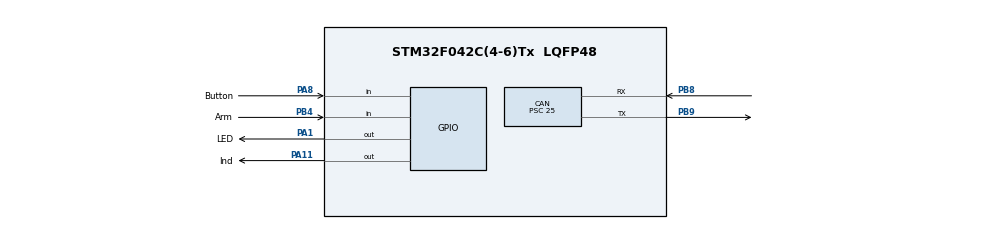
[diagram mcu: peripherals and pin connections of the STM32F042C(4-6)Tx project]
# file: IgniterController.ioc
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CAN.BS1=CAN_BS1_13TQ
CAN.BS2=CAN_BS2_2TQ
CAN.CalculateTimeQuantum=3125.0
CAN.Prescaler=25
Mcu.Family=STM32F0
Mcu.Name=STM32F042C(4-6)Tx
Mcu.Package=LQFP48
NVIC.CEC_CAN_IRQn=true\:1\:0\:true\:false\:true\:true\:true
PA1.GPIO_Label=LED
PA1.Signal=GPIO_Output
PA11.GPIO_Label=Ind
PA11.Signal=GPIO_Output
PA8.GPIO_Label=Button
PA8.Signal=GPIO_Input
PB4.GPIO_Label=Arm
PB4.Signal=GPIO_Input
PB8.GPIO_PuPd=GPIO_PULLUP
PB8.Mode=Master
PB8.Signal=CAN_RX
PB9.Mode=Master
PB9.Signal=CAN_TX
ProjectManager.HeapSize=0x200
ProjectManager.StackSize=0x400
ProjectManager.TargetToolchain=STM32CubeIDE
board=custom

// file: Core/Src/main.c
/* USER CODE BEGIN Header */
/**
  ******************************************************************************
  * @file           : main.c
  * @brief          : Main program body
  ******************************************************************************
  * @attention
  *
  * <h2><center>&copy; Copyright (c) 2020 STMicroelectronics.
  * All rights reserved.</center></h2>
  *
  * This software component is licensed by ST under BSD 3-Clause license,
  * the "License"; You may not use this file except in compliance with the
  * License. You may obtain a copy of the License at:
  *                        opensource.org/licenses/BSD-3-Clause
  *
  ******************************************************************************
  */
/* USER CODE END Header */

#include "main.h"

/* USER CODE BEGIN Includes */
#include "stdbool.h"
/* USER CODE END Includes */

CAN_HandleTypeDef hcan;

void SystemClock_Config(void);
static void MX_GPIO_Init(void);
static void MX_CAN_Init(void);
/* USER CODE BEGIN PFP */
void CAN_Send(uint8_t *data, int length);
/* USER CODE END PFP */

/* USER CODE BEGIN 0 */

CAN_TxHeaderTypeDef   CanTxHeader;
CAN_RxHeaderTypeDef   CanRxHeader;
uint8_t               CanRxData[8];
uint32_t              CanTxMailbox;

#define ARM_PERIOD          10000
#define SEND_STATE_INTERVAL 1000
#define ALIVE_INTERVAL      2000

#define LOOP_PERIOD         50

typedef enum {
	DEAD,
	DISARMED,
	EXPIRED,
	ARMED,
	FIRE,
} State;

State target_state     = DISARMED;
State pre_target_state = DISARMED;
State confirmed_state  = DEAD;

int send_state_timer = 0;
int alive_timer      = 0;

void send_state(void) {
	switch (target_state) {
	case DISARMED:
	case EXPIRED:
		CAN_Send((uint8_t *)"DISARM", 6);
		break;
	case ARMED:
		CAN_Send((uint8_t *)"ARM", 3);
		break;
	case FIRE:
		CAN_Send((uint8_t *)"FIRE", 4);
		break;
	default:
		break;
	}
	send_state_timer = 0;
}

/* USER CODE END 0 */

int main(void)
{
  /* USER CODE BEGIN 1 */

  int  arm_count = 0;

  /* USER CODE END 1 */

  /* MCU Configuration--------------------------------------------------------*/

  /* Reset of all peripherals, Initializes the Flash interface and the Systick. */
  HAL_Init();

  /* Configure the system clock */
  SystemClock_Config();

  /* Initialize all configured peripherals */
  MX_GPIO_Init();
  MX_CAN_Init();
  /* USER CODE BEGIN 2 */

  HAL_GPIO_WritePin(Ind_GPIO_Port, Ind_Pin, GPIO_PIN_RESET);

  /* USER CODE END 2 */

  /* Infinite loop */
  while (1)
  {

    /* USER CODE BEGIN 3 */

	  // Arm lever ON
	  if (confirmed_state == DISARMED &&
		  target_state != ARMED &&
		  target_state != EXPIRED &&
		  HAL_GPIO_ReadPin(Arm_GPIO_Port, Arm_Pin)) {
		  target_state = ARMED;
		  arm_count = 0;
	  }
	  // Arm lever OFF
	  if (!HAL_GPIO_ReadPin(Arm_GPIO_Port, Arm_Pin)) {
		  target_state = DISARMED;
	  }
	  // Arm period expired
	  if (target_state == ARMED &&
		  arm_count > ARM_PERIOD / LOOP_PERIOD) {
		  target_state = EXPIRED;
	  }
	  // Fire button pushed
	  if (confirmed_state == ARMED &&
		  target_state == ARMED &&
		  HAL_GPIO_ReadPin(Button_GPIO_Port, Button_Pin)) {
		  target_state = FIRE;
	  }

	  if (confirmed_state == DISARMED &&
		  target_state == FIRE) {
		  target_state = EXPIRED;
	  }

	  // Check heart beat
	  if (alive_timer > ALIVE_INTERVAL / LOOP_PERIOD) {
		  target_state    = DISARMED;
		  confirmed_state = DEAD;
	  }

	  // Send state
	  if (target_state != pre_target_state ||
		  send_state_timer > SEND_STATE_INTERVAL / LOOP_PERIOD) {
		  send_state();
	  }

	  pre_target_state = target_state;
	  arm_count++;
	  send_state_timer++;
	  alive_timer++;

	  HAL_GPIO_TogglePin(LED_GPIO_Port, LED_Pin);

	  switch (confirmed_state) {
	  case DEAD:
		  HAL_GPIO_WritePin(Ind_GPIO_Port, Ind_Pin, GPIO_PIN_RESET);
		  break;
	  case DISARMED:
		  HAL_GPIO_WritePin(Ind_GPIO_Port, Ind_Pin,
				  alive_timer < 200 / LOOP_PERIOD ? GPIO_PIN_SET : GPIO_PIN_RESET);
		  break;
	  case ARMED:
		  HAL_GPIO_WritePin(Ind_GPIO_Port, Ind_Pin, GPIO_PIN_SET);
		  break;
	  case FIRE:
		  if (alive_timer % 2 == 0) HAL_GPIO_TogglePin(Ind_GPIO_Port, Ind_Pin);
		  break;
	  }

	  HAL_Delay(LOOP_PERIOD);

  }
  /* USER CODE END 3 */
}

void SystemClock_Config(void)
{
  RCC_OscInitTypeDef RCC_OscInitStruct = {0};
  RCC_ClkInitTypeDef RCC_ClkInitStruct = {0};

  /** Initializes the CPU, AHB and APB busses clocks
  */
  RCC_OscInitStruct.OscillatorType = RCC_OSCILLATORTYPE_HSI;
  RCC_OscInitStruct.HSIState = RCC_HSI_ON;
  RCC_OscInitStruct.HSICalibrationValue = RCC_HSICALIBRATION_DEFAULT;
  RCC_OscInitStruct.PLL.PLLState = RCC_PLL_NONE;
  if (HAL_RCC_OscConfig(&RCC_OscInitStruct) != HAL_OK)
  {
    Error_Handler();
  }
  /** Initializes the CPU, AHB and APB busses clocks
  */
  RCC_ClkInitStruct.ClockType = RCC_CLOCKTYPE_HCLK|RCC_CLOCKTYPE_SYSCLK
                              |RCC_CLOCKTYPE_PCLK1;
  RCC_ClkInitStruct.SYSCLKSource = RCC_SYSCLKSOURCE_HSI;
  RCC_ClkInitStruct.AHBCLKDivider = RCC_SYSCLK_DIV1;
  RCC_ClkInitStruct.APB1CLKDivider = RCC_HCLK_DIV1;

  if (HAL_RCC_ClockConfig(&RCC_ClkInitStruct, FLASH_LATENCY_0) != HAL_OK)
  {
    Error_Handler();
  }
}

static void MX_CAN_Init(void)
{

  hcan.Instance = CAN;
  hcan.Init.Prescaler = 25;
  hcan.Init.Mode = CAN_MODE_NORMAL;
  hcan.Init.SyncJumpWidth = CAN_SJW_1TQ;
  hcan.Init.TimeSeg1 = CAN_BS1_13TQ;
  hcan.Init.TimeSeg2 = CAN_BS2_2TQ;
  hcan.Init.TimeTriggeredMode = DISABLE;
  hcan.Init.AutoBusOff = DISABLE;
  hcan.Init.AutoWakeUp = DISABLE;
  hcan.Init.AutoRetransmission = DISABLE;
  hcan.Init.ReceiveFifoLocked = DISABLE;
  hcan.Init.TransmitFifoPriority = DISABLE;
  if (HAL_CAN_Init(&hcan) != HAL_OK)
  {
    Error_Handler();
  }
  /* USER CODE BEGIN CAN_Init 2 */

  // Configure Filter

  CAN_FilterTypeDef  fc;

  fc.FilterBank           = 0;
  fc.FilterMode           = CAN_FILTERMODE_IDMASK;
  fc.FilterScale          = CAN_FILTERSCALE_32BIT;
  fc.FilterIdHigh         = 0x0000;
  fc.FilterIdLow          = 0x0000;
  fc.FilterMaskIdHigh     = 0x0000;
  fc.FilterMaskIdLow      = 0x0000;
  fc.FilterFIFOAssignment = CAN_RX_FIFO0;
  fc.FilterActivation     = ENABLE;
  fc.SlaveStartFilterBank = 14;

  if (HAL_CAN_ConfigFilter(&hcan, &fc) != HAL_OK)
  {
    /* Filter configuration Error */
    Error_Handler();
  }

  if (HAL_CAN_Start(&hcan) != HAL_OK)
  {
    /* Start Error */
    Error_Handler();
  }

  if (HAL_CAN_ActivateNotification(&hcan, CAN_IT_RX_FIFO0_MSG_PENDING) != HAL_OK)
  {
    /* Notification Error */
    Error_Handler();
  }

  // Configure Transmission

  CanTxHeader.StdId = 0x12;
  CanTxHeader.RTR   = CAN_RTR_DATA;
  CanTxHeader.IDE   = CAN_ID_STD;
  CanTxHeader.TransmitGlobalTime = DISABLE;

  /* USER CODE END CAN_Init 2 */

}

static void MX_GPIO_Init(void)
{
  GPIO_InitTypeDef GPIO_InitStruct = {0};

  /* GPIO Ports Clock Enable */
  __HAL_RCC_GPIOA_CLK_ENABLE();
  __HAL_RCC_GPIOB_CLK_ENABLE();

  /*Configure GPIO pin Output Level */
  HAL_GPIO_WritePin(GPIOA, LED_Pin|Ind_Pin, GPIO_PIN_RESET);

  /*Configure GPIO pins : LED_Pin Ind_Pin */
  GPIO_InitStruct.Pin = LED_Pin|Ind_Pin;
  GPIO_InitStruct.Mode = GPIO_MODE_OUTPUT_PP;
  GPIO_InitStruct.Pull = GPIO_NOPULL;
  GPIO_InitStruct.Speed = GPIO_SPEED_FREQ_LOW;
  HAL_GPIO_Init(GPIOA, &GPIO_InitStruct);

  /*Configure GPIO pin : Button_Pin */
  GPIO_InitStruct.Pin = Button_Pin;
  GPIO_InitStruct.Mode = GPIO_MODE_INPUT;
  GPIO_InitStruct.Pull = GPIO_NOPULL;
  HAL_GPIO_Init(Button_GPIO_Port, &GPIO_InitStruct);

  /*Configure GPIO pin : Arm_Pin */
  GPIO_InitStruct.Pin = Arm_Pin;
  GPIO_InitStruct.Mode = GPIO_MODE_INPUT;
  GPIO_InitStruct.Pull = GPIO_NOPULL;
  HAL_GPIO_Init(Arm_GPIO_Port, &GPIO_InitStruct);

}

/* USER CODE BEGIN 4 */

void CAN_Send(uint8_t *data, int length) {
	CanTxHeader.DLC = length;
	if (HAL_CAN_AddTxMessage(&hcan, &CanTxHeader, data, &CanTxMailbox) != HAL_OK) {
		/* Transmission request Error */
		Error_Handler();
	}
}

_Bool CAN_Received(uint32_t id, uint8_t *data, uint32_t length) {
	if (CanRxHeader.StdId != id)         return 0;
	if (CanRxHeader.IDE   != CAN_ID_STD) return 0;
	if (CanRxHeader.DLC   != length)     return 0;
	for (int i = 0; i < length; i++) {
		if (CanRxData[i] != data[i]) return 0;
	}
	return 1;
}

void HAL_CAN_RxFifo0MsgPendingCallback(CAN_HandleTypeDef *hcan)
{
  /* Get RX message */
  if (HAL_CAN_GetRxMessage(hcan, CAN_RX_FIFO0, &CanRxHeader, CanRxData) != HAL_OK)
  {
    /* Reception Error */
    Error_Handler();
  }

  alive_timer = 0;

  if (CAN_Received((uint32_t)0x13, (uint8_t*)"DISARM", 6)) {
	  confirmed_state = DISARMED;
  }
  else if (CAN_Received((uint32_t)0x13, (uint8_t*)"ARM", 3)) {
	  confirmed_state = ARMED;
  }
  else if (CAN_Received((uint32_t)0x13, (uint8_t*)"FIRE", 4)) {
  	  confirmed_state = FIRE;
  }
}

/* USER CODE END 4 */

void Error_Handler(void)
{
}

/************************ (C) COPYRIGHT STMicroelectronics *****END OF FILE****/
